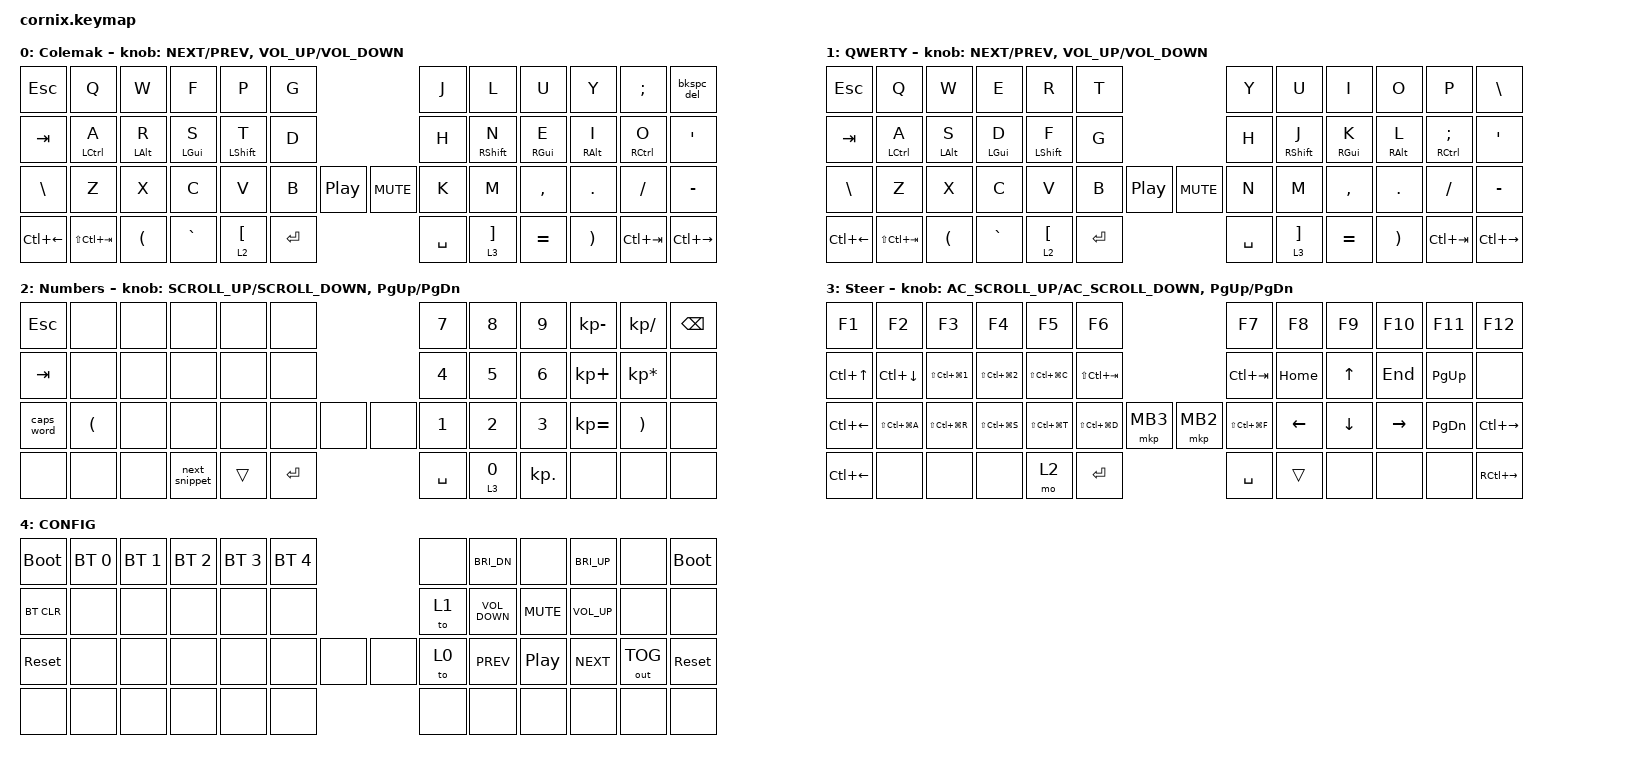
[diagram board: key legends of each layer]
/*
 * Copyright (c) 2020 The ZMK Contributors
 *
 * SPDX-License-Identifier: MIT
 */

#include "zmk-helpers/helper.h"
#include "includes/cornix54.h"

// tap windows for ctl alt and gui

#define HM_TAPPING_TERM 250
#define HM_TAPPING_REPEAT 210

// quick tapping for shift

#define HM_TAPPING_TERM_FAST 200
#define HM_PRIOR_IDLE 70
#define BASE 0
#define WIN 1
#define LOWER 2
#define RAISE 3
#define ADJUST 4
#define NAVI   5
#define NUM    6
#define DEBUG  7

// https://github.com/urob/zmk-config/tree/main#timeless-homerow-mods

#define KEYS_L LT0 LT1 LT2 LT3 LT4 LT5 LM0 LM1 LM2 LM3 LM4 LM5 LB0 LB1 LB2 LB3 LB4 LB5  // left hand
#define KEYS_R RT0 RT1 RT2 RT3 RT4 RT5 RM0 RM1 RM2 RM3 RM4 RM5 RB0 RB1 RB2 RB3 RB4 RB5  // right hand
#define THUMBS LH1 LH0 RH0 RH1
#define KEYS_T LH1 LH0 RH0 RH1
#define ZMK_POINTING_DEFAULT_SCRL_VAL 15

#include <behaviors.dtsi>
#include <dt-bindings/zmk/bt.h>
#include <dt-bindings/zmk/keys.h>
#include <dt-bindings/zmk/outputs.h>
#include <dt-bindings/zmk/pointing.h>

&caps_word { continue-list = <UNDERSCORE BACKSPACE DELETE MINUS HOME END LEFT RIGHT>; };

/ {
    // Activate ADJUST layer by pressing raise and lower

    behaviors {
        hml: home_row_mod_left {
            compatible = "zmk,behavior-hold-tap";
            #binding-cells = <2>;
            bindings = <&kp>, <&kp>;

            flavor = "balanced";
            tapping-term-ms = <200>;
            quick-tap-ms = <175>;                // repeat on tap-into-hold
            require-prior-idle-ms = <150>;
            hold-trigger-key-positions = <KEYS_R KEYS_T 41 42 43 44 45 46 6 7 8 9 10 11 18 19 20 21 22 23 32 33 34 35 36 37 45 46 47 48 49 31>;
            label = "HOME_ROW_MOD_LEFT";
            hold-trigger-on-release;
        };

        hmr: home_row_mod_right {
            compatible = "zmk,behavior-hold-tap";
            #binding-cells = <2>;
            bindings = <&kp>, <&kp>;

            flavor = "balanced";
            tapping-term-ms = <200>;
            quick-tap-ms = <175>;
            require-prior-idle-ms = <150>;
            hold-trigger-key-positions = <KEYS_L KEYS_T 0 1 2 3 4 5 12 13 14 15 16 17 24 25 26 27 28 29 30 38 39 40 41 42 43 44 45 46>;
            label = "HOME_ROW_MOD_RIGHT";
            hold-trigger-on-release;
        };

        // Positional Homerow mods for shift
        // Use faster tapping term and disable some features that may
        // cause false negatives.

        hm_shift_l: hm_shift_l {
            compatible = "zmk,behavior-hold-tap";
            #binding-cells = <2>;
            bindings = <&kp>, <&kp>;

            //flavor = "balanced";

            flavor = "balanced";
            tapping-term-ms = <HM_TAPPING_TERM_FAST>;
            quick-tap-ms = <200>;
            require-prior-idle-ms = <HM_PRIOR_IDLE>;
            hold-trigger-key-positions = <KEYS_R KEYS_T>;
            hold-trigger-on-release;
        };

        hm_shift_r: hm_shift_r {
            compatible = "zmk,behavior-hold-tap";
            #binding-cells = <2>;
            bindings = <&kp>, <&kp>;

            flavor = "balanced";
            tapping-term-ms = <HM_TAPPING_TERM_FAST>;
            quick-tap-ms = <200>;
            require-prior-idle-ms = <HM_PRIOR_IDLE>;
            hold-trigger-key-positions = <KEYS_L KEYS_T>;

            // for quick tapping; shift+~

            hold-trigger-on-release;
        };

        /*
         * Non-Positional Homerow Mods
         * Used for &mm_grescm_gui behavior on left hand.
         *
         * Usage: &hm LSHFT T
         * Tap: T
         * Tap-Tap-Hold: Repeat T
         * Hold: LSHIFT
         */

        hm: homerow_mods {
            compatible = "zmk,behavior-hold-tap";
            #binding-cells = <2>;
            bindings = <&kp>, <&kp>;

            flavor = "balanced";
            tapping-term-ms = <HM_TAPPING_TERM>;
            quick-tap-ms = <200>;
        };

        bkspc_del: bkspc_del {
            compatible = "zmk,behavior-mod-morph";
            label = "BKSPC_DEL";
            bindings = <&kp BACKSPACE>, <&kp DELETE>;

            #binding-cells = <0>;
            mods = <(MOD_LSFT|MOD_RSFT)>;
        };
    };

    conditional_layers {
        compatible = "zmk,conditional-layers";

        config_cond {
            if-layers = <2 3>;
            then-layer = <4>;
        };
    };

    combos {
        compatible = "zmk,combos";

        combo_left_par {
            bindings = <&kp LEFT_PARENTHESIS>;
            key-positions = <27 28>;
        };

        combo_right_par {
            bindings = <&kp RIGHT_PARENTHESIS>;
            key-positions = <33 34>;
        };
    };

    macros {
        next_snippet: next_snippet {
            compatible = "zmk,behavior-macro";
            #binding-cells = <0>;
            bindings = <&kp COLON &kp N &kp X>;
            label = "NEXT_SNIPPET";
        };
    };

    keymap {
        compatible = "zmk,keymap";

        colemak_layer {
            display-name = "Colemak";

            // ------------------------------------------------------------------------------------------------------------
            // |   `   |  1  |  2  |  3   |  4   |  5   |                   |  6   |  7    |  8    |  9   |   0   |       |
            // |  ESC  |  Q  |  W  |  E   |  R   |  T   |                   |  Y   |  U    |  I    |  O   |   P   | BKSPC |
            // |  TAB  |  A  |  S  |  D   |  F   |  G   |                   |  H   |  J    |  K    |  L   |   ;   |   '   |
            // | SHIFT |  Z  |  X  |  C   |  V   |  B   |  MUTE  |  |       |  N   |  M    |  ,    |  .   |   /   | SHIFT |
            //               | GUI | ALT  | CTRL | LOWER|  ENTER |  | SPACE | RAISE| CTRL  | ALT   | GUI  |

            bindings = <
&kp ESC             &kp Q            &kp W                 &kp F        &kp P               &kp G                                  &kp J      &kp L                &kp U        &kp Y                  &kp SEMI      &bkspc_del
&kp TAB             &hml LCTRL A     &hml LALT R           &hml LGUI S  &hml LSHFT T        &kp D                                  &kp H      &hmr RSHFT N         &hmr RGUI E  &hmr RALT I            &hmr RCTRL O  &kp SQT
&kp BSLH            &kp Z            &kp X                 &kp C        &kp V               &kp B    &kp C_PLAY_PAUSE  &kp C_MUTE  &kp K      &kp M                &kp COMMA    &kp DOT                &kp FSLH      &kp MINUS
&kp LC(LEFT_ARROW)  &kp LS(LC(TAB))  &kp LEFT_PARENTHESIS  &kp GRAVE    &lt 2 LEFT_BRACKET  &kp RET                                &kp SPACE  &lt 3 RIGHT_BRACKET  &kp EQUAL    &kp RIGHT_PARENTHESIS  &kp LC(TAB)   &kp LC(RIGHT_ARROW)
            >;

            sensor-bindings =
                <&inc_dec_kp C_NEXT C_PREV>,
                <&inc_dec_kp C_VOLUME_UP C_VOLUME_DOWN>;
        };

        qwerty_layer {
            display-name = "QWERTY";
            bindings = <
&kp ESC             &kp Q            &kp W                 &kp E        &kp R               &kp T                                  &kp Y      &kp U                &kp I        &kp O                  &kp P            &kp BSLH
&kp TAB             &hml LCTRL A     &hml LALT S           &hml LGUI D  &hml LSHFT F        &kp G                                  &kp H      &hmr RSHFT J         &hmr RGUI K  &hmr RALT L            &hmr RCTRL SEMI  &kp SQT
&kp BSLH            &kp Z            &kp X                 &kp C        &kp V               &kp B    &kp C_PLAY_PAUSE  &kp C_MUTE  &kp N      &kp M                &kp COMMA    &kp DOT                &kp FSLH         &kp MINUS
&kp LC(LEFT_ARROW)  &kp LS(LC(TAB))  &kp LEFT_PARENTHESIS  &kp GRAVE    &lt 2 LEFT_BRACKET  &kp RET                                &kp SPACE  &lt 3 RIGHT_BRACKET  &kp EQUAL    &kp RIGHT_PARENTHESIS  &kp LC(TAB)      &kp LC(RIGHT_ARROW)
            >;

            sensor-bindings =
                <&inc_dec_kp C_NEXT C_PREV>,
                <&inc_dec_kp C_VOLUME_UP C_VOLUME_DOWN>;
        };

        numbers_layer {
            display-name = "Numbers";

            // ------------------------------------------------------------------------------------------------------------
            // |   `   |  1  |  2  |  3   |  4   |  5   |                   |  6   |  7    |  8    |  9   |   0   |       |
            // |  ESC  |  Q  |  W  |  E   |  R   |  T   |                   |  Y   |  U    |  I    |  O   |   P   | BKSPC |
            // |  TAB  |  A  |  S  |  D   |  F   |  G   |                   |  H   |  J    |  K    |  L   |   ;   |   '   |
            // | SHIFT |  Z  |  X  |  C   |  V   |  B   |  MUTE  |  |       |  N   |  M    |  ,    |  .   |   /   | SHIFT |
            //               | GUI | ALT  | CTRL | LOWER|  ENTER |  | SPACE | RAISE| CTRL  | ALT   | GUI  |

            bindings = <
&kp ESC     &none                 &none  &none          &none   &none                  &kp N7     &kp N8    &kp N9      &kp KP_MINUS  &kp KP_SLASH           &kp BACKSPACE
&kp TAB     &none                 &none  &none          &none   &none                  &kp N4     &kp N5    &kp N6      &kp KP_PLUS   &kp KP_MULTIPLY        &none
&caps_word  &kp LEFT_PARENTHESIS  &none  &none          &none   &none    &none  &none  &kp N1     &kp N2    &kp N3      &kp KP_EQUAL  &kp RIGHT_PARENTHESIS  &none
&none       &none                 &none  &next_snippet  &trans  &kp RET                &kp SPACE  &lt 3 N0  &kp KP_DOT  &none         &none                  &none
            >;

            sensor-bindings =
                <&inc_dec_kp K_SCROLL_UP K_SCROLL_DOWN>,
                <&inc_dec_kp PG_UP PG_DN>;
        };

        navig_layer {
            display-name = "Steer";

            // TODO: Some binds are waiting for shifted keycode support.
            // -------------------------------
            // |       |  F1 |  F2 |  F3  |  F4  |  F5  |                   |  F6  |  F7   |  F8   |  F9  |  F10  |  F11  |
            // |   `   |  1  |  2  |  3   |  4   |  5   |                   |  6   |  7    |  8    |  9   |   0   |  F12  |
            // |       |  !  |  @  |  #   |  $   |  %   |                   |  ^   |  &    |  *    |  (   |   )   |   |   |
            // |       |  =  |  -  |  +   |  {   |  }   |        |  |       |  [   |  ]    |  ;    |  :   |   \   |       |
            //               |     |      |      |      |        |  |       |      |       |       |      |

            bindings = <
&kp F1              &kp F2              &kp F3                    &kp F4                    &kp F5             &kp F6                                 &kp F7             &kp F8    &kp F9    &kp F10    &kp F11    &kp F12
&kp LC(UP_ARROW)    &kp LC(DOWN_ARROW)  &kp LS(LC(LG(NUMBER_1)))  &kp LS(LC(LG(NUMBER_2)))  &kp LS(LC(LG(C)))  &kp LS(LC(TAB))                        &kp LC(TAB)        &kp HOME  &kp UP    &kp END    &kp PG_UP  &none
&kp LC(LEFT_ARROW)  &kp LS(LC(LG(A)))   &kp LS(LC(LG(R)))         &kp LS(LC(LG(S)))         &kp LS(LC(LG(T)))  &kp LS(LC(LG(D)))  &mkp MB3  &mkp MB2  &kp LS(LC(LG(F)))  &kp LEFT  &kp DOWN  &kp RIGHT  &kp PG_DN  &kp LC(RIGHT_ARROW)
&kp LC(LEFT_ARROW)  &none               &none                     &none                     &mo 2              &kp RET                                &kp SPACE          &trans    &none     &none      &none      &kp RC(RIGHT_ARROW)
            >;

            sensor-bindings =
                <&inc_dec_kp C_AC_SCROLL_UP C_AC_SCROLL_DOWN>,
                <&inc_dec_kp PG_UP PG_DN>;
        };

        config_layer {
            display-name = "CONFIG";

            // ----------------------------------------------------------------------------------------------------------------------------
            // | BTCLR  |  BT1    |  BT2    |   BT3   |   BT4   |   BT5   |                  |      |      |       |      |       |       |
            // | EXTPWR | BTCLR | RGB_HUI | RGB_SAD | RGB_SAI | RGB_EFF |                  |      |      |       |      |       |       |
            // |        | RGB_BRD | RGB_BRI |         |         |         |                  |      |      |       |      |       |       |
            // |        |         |         |         |         |         | RGB_TOG | |      |      |      |       |      |       |       |
            //                    |         |         |         |         |         | |      |      |      |       |      |

            bindings = <
&bootloader  &bt BT_SEL 0  &bt BT_SEL 1  &bt BT_SEL 2  &bt BT_SEL 3  &bt BT_SEL 4                &none  &kp C_BRI_DN       &none             &kp C_BRI_UP     &none         &bootloader
&bt BT_CLR   &none         &none         &none         &none         &none                       &to 1  &kp C_VOLUME_DOWN  &kp C_MUTE        &kp C_VOLUME_UP  &none         &none
&sys_reset   &none         &none         &none         &none         &none         &none  &none  &to 0  &kp C_PREV         &kp C_PLAY_PAUSE  &kp C_NEXT       &out OUT_TOG  &sys_reset
&none        &none         &none         &none         &none         &none                       &none  &none              &none             &none            &none         &none
            >;
        };
    };
};
